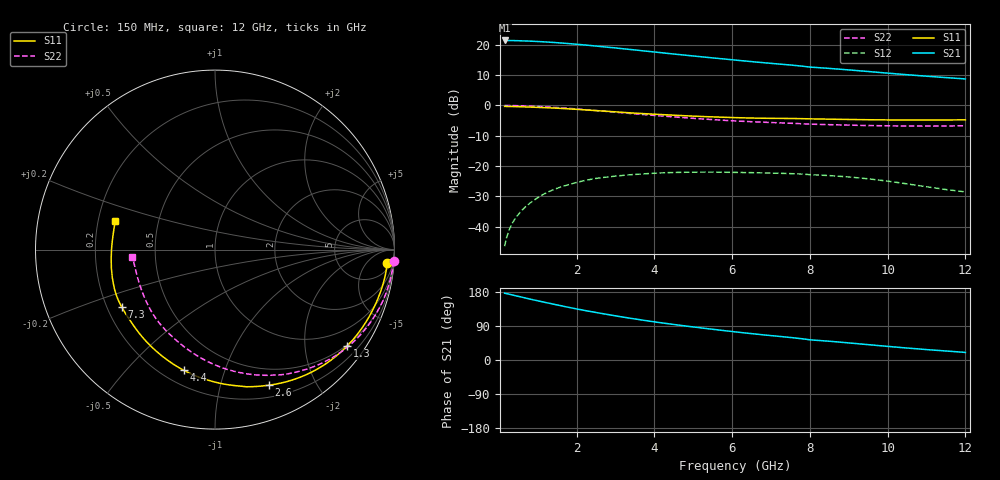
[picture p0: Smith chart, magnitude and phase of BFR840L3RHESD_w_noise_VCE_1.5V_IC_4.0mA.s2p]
! Infineon Technologies  Discrete & RF Semiconductors
! BFR840L3RHESD
! VCE =  1.5 V,  IC =  4.0 mA
! Common Emitter S-Parameters:  Jun 2012
# GHz  S  MA  R  50
!  f  S11  S21  S12  S22
! GHz  MAG  ANG  MAG  ANG  MAG  ANG  MAG  ANG
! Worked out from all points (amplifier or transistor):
!   91 points, 150 MHz to 12 GHz, reference 50 ohm
!   highest |S21| = 21.4 dB at 150 MHz (marker M1)
!   |S21| within 3 dB of that: start of sweep to 3.4 GHz
!   unconditionally stable (mu >= 1): 9.479 GHz to end of sweep
!   at 1.3 GHz: K = 0.08, MSG = 24.6 dB, |S12| = -28.3 dB
!   at 4.3 GHz: K = 0.26, MSG = 19.7 dB, |S12| = -22.2 dB
!   at 12 GHz: K = 2.35, MAG = 12.1 dB, |S12| = -28.5 dB
!   lowest NFmin = 0.46 dB at 450 MHz
!   S11 on the Smith chart (normalised r, x): 150 MHz: 11, -21; 1.3 GHz: 0.47, -2.99; 2.6 GHz: 0.32, -1.42; 4.4 GHz: 0.28, -0.73; 7.3 GHz: 0.26, -0.26; 12 GHz: 0.27, +0.13
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0.15  0.9617 -4.4  11.74 176.3  0.0048 79.6  0.9969 -3.7
0.35  0.9577 -10.1  11.68 171.6  0.0115 80.0  0.9925 -8.6
0.7  0.9426 -20.0  11.5 163.2  0.0217 76.5  0.9778 -17.0
0.9  0.9331 -25.5  11.36 158.5  0.0273 71.8  0.9663 -21.7
1.3  0.9114 -36.2  10.99 149.7  0.0383 63.5  0.9379 -30.8
1.5  0.8986 -41.4  10.78 145.3  0.0431 60.2  0.9212 -35.2
1.8  0.877 -49.2  10.42 138.9  0.0496 55.4  0.8934 -41.6
2.2  0.845 -59.2  9.901 130.9  0.0576 48.4  0.8528 -49.9
2.6  0.8127 -68.4  9.349 123.6  0.064 42.0  0.8126 -57.6
3  0.7837 -77.2  8.848 116.5  0.0686 37.0  0.7729 -64.7
3.3  0.7597 -83.5  8.435 111.5  0.0713 32.5  0.7438 -70.1
3.7  0.7333 -91.5  7.936 105.2  0.0743 27.7  0.7082 -76.8
4.2  0.705 -101.0  7.349 97.9  0.0773 22.2  0.6682 -84.7
4.4  0.6945 -104.6  7.127 95.1  0.0782 20.1  0.6533 -87.7
5.2  0.6575 -118.3  6.327 84.7  0.0795 12.4  0.6001 -99.4
6.1  0.6285 -132.3  5.564 74.0  0.0788 5.3  0.5541 -111.7
7.3  0.6102 -148.6  4.744 61.5  0.0759 -2.8  0.5139 -127.0
8  0.6002 -159.6  4.277 53.3  0.0724 -8.3  0.491 -137.3
8.5  0.5933 -164.6  4.068 49.5  0.0698 -11.1  0.4816 -142.1
9.5  0.5805 -175.2  3.615 40.5  0.0618 -17.0  0.4657 -152.5
10.5  0.5741 175.2  3.2 31.6  0.051 -20.4  0.4573 -162.6
12  0.5783 164.0  2.728 20.0  0.0376 -14.9  0.4615 -174.9
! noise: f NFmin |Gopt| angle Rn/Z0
0.45  0.46  0.6  7  0.21
0.9  0.5  0.59  12  0.2
1.9  0.54  0.56  27  0.19
3.5  0.56  0.56  47  0.17
4  0.59  0.56  55  0.17
5.5  0.63  0.57  70  0.15
7  0.72  0.54  89  0.13
8  0.79  0.51  102  0.12
10  0.92  0.46  122  0.1
12  1.1  0.38  153  0.08
